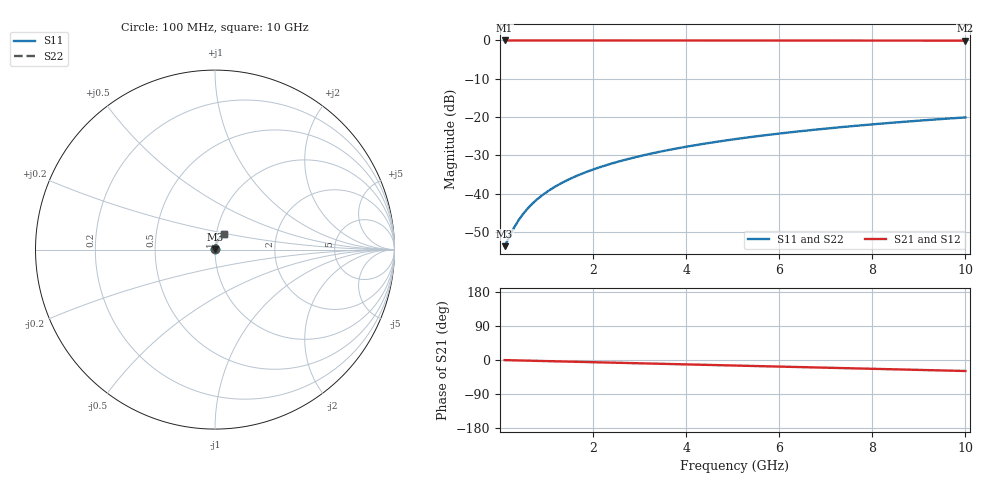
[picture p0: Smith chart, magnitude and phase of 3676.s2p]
# Hz S RI R 50.00
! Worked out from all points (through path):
!   100 points, 100 MHz to 10 GHz, reference 50 ohm
!   highest |S21| = -0.02 dB at 100 MHz (marker M1); lowest = -0.1 dB at 10 GHz (marker M2)
!   group delay of S21, straight-line fit = 8.07 ps
!   lowest |S11| = -53.7 dB at 100 MHz (marker M3), VSWR 1.00, Z = 50.2 + j0.102 ohm
!   |S11| at or under -10 dB: start of sweep to end of sweep
!   |S22| runs from -53.7 to -20.1 dB; largest |S21 - S12| = 1e-12
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1e8  0.00179 0.00102  0.9982 -0.00504  0.9982 -0.00504  0.00179 0.00102
3e8  0.00185 0.00306  0.9981 -0.0151  0.9981 -0.0151  0.00185 0.00306
4e8  0.00189 0.00408  0.998 -0.0202  0.998 -0.0202  0.00189 0.00408
5e8  0.00194 0.0051  0.9978 -0.0252  0.9978 -0.0252  0.00194 0.0051
6e8  0.002 0.00612  0.9977 -0.0302  0.9977 -0.0302  0.002 0.00612
7e8  0.00207 0.00714  0.9975 -0.0353  0.9975 -0.0353  0.00207 0.00714
8e8  0.00215 0.00815  0.9973 -0.0403  0.9973 -0.0403  0.00215 0.00815
9e8  0.00224 0.00917  0.9971 -0.0453  0.9971 -0.0453  0.00224 0.00917
1e9  0.00234 0.0102  0.9968 -0.0504  0.9968 -0.0504  0.00234 0.0102
1.2e9  0.00257 0.0122  0.9962 -0.0604  0.9962 -0.0604  0.00257 0.0122
1.5e9  0.00299 0.0152  0.9951 -0.0755  0.9951 -0.0755  0.00299 0.0152
1.8e9  0.00351 0.0183  0.9938 -0.0906  0.9938 -0.0906  0.00351 0.0183
2.1e9  0.00411 0.0213  0.9922 -0.1056  0.9922 -0.1056  0.00411 0.0213
2.5e9  0.00505 0.0252  0.9898 -0.1257  0.9898 -0.1257  0.00505 0.0252
2.9e9  0.00616 0.0291  0.9869 -0.1456  0.9869 -0.1456  0.00616 0.0291
3.4e9  0.00776 0.034  0.9827 -0.1705  0.9827 -0.1705  0.00776 0.034
4.2e9  0.0108 0.0415  0.9747 -0.2101  0.9747 -0.2101  0.0108 0.0415
5.1e9  0.015 0.0497  0.9637 -0.2542  0.9637 -0.2542  0.015 0.0497
5.9e9  0.0193 0.0566  0.9521 -0.2929  0.9521 -0.2929  0.0193 0.0566
6.7e9  0.0242 0.0632  0.9389 -0.3311  0.9389 -0.3311  0.0242 0.0632
8.4e9  0.0362 0.0757  0.9057 -0.4103  0.9057 -0.4103  0.0362 0.0757
1e10  0.0495 0.0855  0.8681 -0.4819  0.8681 -0.4819  0.0495 0.0855
